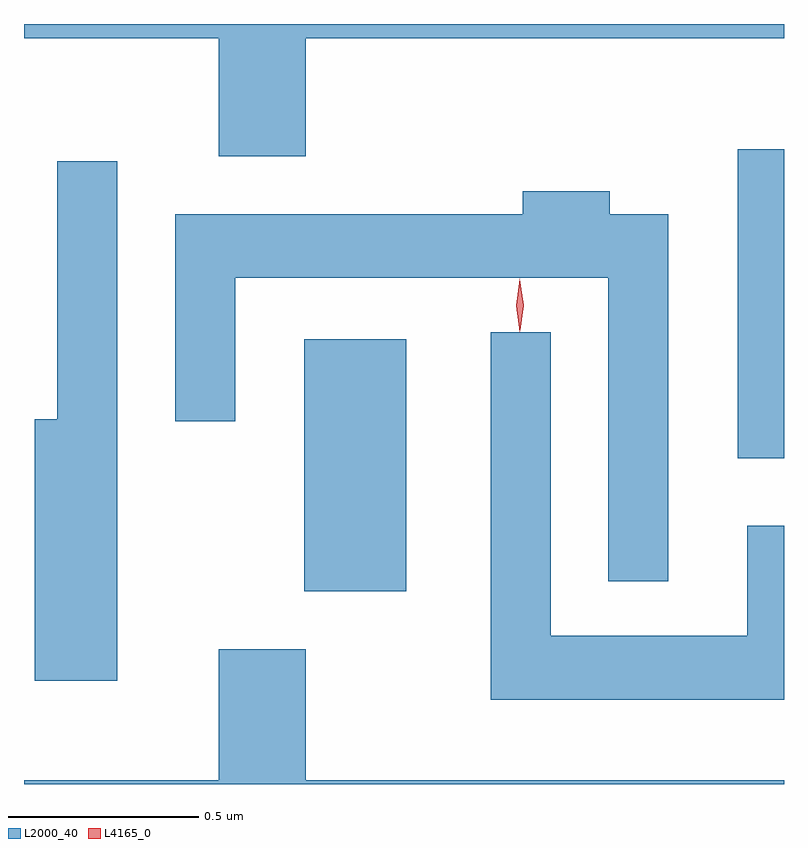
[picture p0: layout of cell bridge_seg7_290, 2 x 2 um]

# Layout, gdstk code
import gdstk
lib = gdstk.Library(unit=1e-6, precision=1e-09)
def R(c, l, rs):  # rectangles x0, y0, x1, y1
    for r in rs: c.add(gdstk.rectangle(r[:2], r[2:], *l))
def P(c, l, *ps):  # polygons
    for p in ps: c.add(gdstk.Polygon(p, *l))
L2000_40 = (2000, 40)
L4165_0 = (4165, 0)

bridge_seg7_290 = lib.new_cell('bridge_seg7_290')
R(bridge_seg7_290, L2000_40, [(1257.186,1803.881,1257.454,1804.544), (1258.326,1804.231,1258.448,1805.044)])
P(bridge_seg7_290, L2000_40, [(1257.189,1805.336),(1258.448,1805.336),(1258.448,1805.374),(1256.448,1805.374),(1256.448,1805.336),(1256.961,1805.336),(1256.961,1805.026),(1257.189,1805.026)],
  [(1256.694,1805.013),(1256.536,1805.013),(1256.536,1804.334),(1256.476,1804.334),(1256.476,1803.646),(1256.694,1803.646)],
  [(1258.144,1804.874),(1257.989,1804.874),(1257.989,1804.934),(1257.761,1804.934),(1257.761,1804.874),(1256.846,1804.874),(1256.846,1804.328),(1257.004,1804.328),(1257.004,1804.706),(1257.986,1804.706),(1257.986,1803.908),(1258.144,1803.908)],
  [(1258.448,1804.054),(1258.351,1804.054),(1258.351,1803.764),(1257.834,1803.764),(1257.834,1804.563),(1257.676,1804.563),(1257.676,1803.596),(1258.448,1803.596)],
  [(1258.448,1803.384),(1257.189,1803.384),(1257.189,1803.729),(1256.961,1803.729),(1256.961,1803.384),(1256.448,1803.384),(1256.448,1803.374),(1258.448,1803.374)])
P(bridge_seg7_290, L4165_0, [(1257.753,1804.563),(1257.752,1804.564),(1257.743,1804.633),(1257.752,1804.702),(1257.753,1804.703),(1257.753,1804.702),(1257.763,1804.633),(1257.753,1804.564)],
  [(1257.753,1804.567),(1257.752,1804.568),(1257.743,1804.634),(1257.752,1804.7),(1257.753,1804.7),(1257.753,1804.7),(1257.763,1804.634),(1257.754,1804.568)])

lib.write_gds('bridge_seg7_290.gds')
